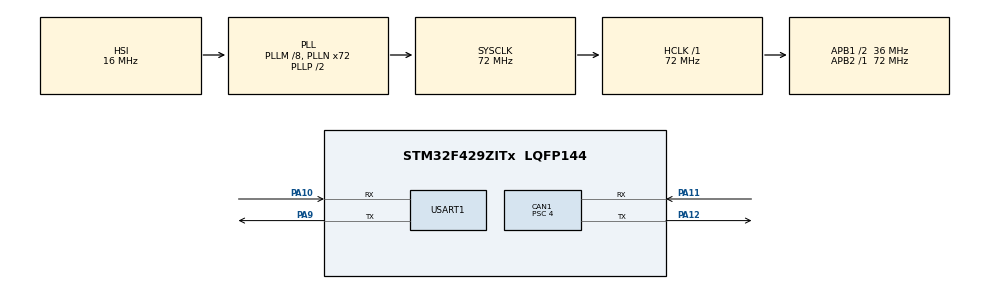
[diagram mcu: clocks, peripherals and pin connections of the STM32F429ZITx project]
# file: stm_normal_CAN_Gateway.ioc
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CAN1.BS1=CAN_BS1_14TQ
CAN1.BS2=CAN_BS2_3TQ
CAN1.CalculateBaudRate=500000
CAN1.CalculateTimeBit=2000
CAN1.CalculateTimeQuantum=111.11111111111111
CAN1.Mode=CAN_MODE_NORMAL
CAN1.Prescaler=4
Mcu.Family=STM32F4
Mcu.Name=STM32F429ZITx
Mcu.Package=LQFP144
NVIC.CAN1_RX0_IRQn=true\:0\:0\:false\:false\:true\:true\:true\:true
NVIC.PriorityGroup=NVIC_PRIORITYGROUP_4
PA10.Mode=Asynchronous
PA10.Signal=USART1_RX
PA11.Mode=CAN_Activate
PA11.Signal=CAN1_RX
PA12.Mode=CAN_Activate
PA12.Signal=CAN1_TX
PA9.Mode=Asynchronous
PA9.Signal=USART1_TX
ProjectManager.HeapSize=0x200
ProjectManager.StackSize=0x400
ProjectManager.TargetToolchain=STM32CubeIDE
RCC.48MHZClocksFreq_Value=48000000
RCC.AHBFreq_Value=72000000
RCC.APB1CLKDivider=RCC_HCLK_DIV2
RCC.APB1Freq_Value=36000000
RCC.APB1TimFreq_Value=72000000
RCC.APB2Freq_Value=72000000
RCC.APB2TimFreq_Value=72000000
RCC.CortexFreq_Value=72000000
RCC.HCLKFreq_Value=72000000
RCC.HSE_VALUE=8000000
RCC.HSI_VALUE=16000000
RCC.LSE_VALUE=32768
RCC.PLLM=8
RCC.PLLN=72
RCC.PLLQ=3
RCC.PLLSAIN=50
RCC.SYSCLKFreq_VALUE=72000000
RCC.SYSCLKSource=RCC_SYSCLKSOURCE_PLLCLK
RCC.VCOOutputFreq_Value=144000000
USART1.VirtualMode=VM_ASYNC
board=STM32F429I-DISC1

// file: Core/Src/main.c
/* USER CODE BEGIN Header */
/**
  ******************************************************************************
  * @file           : main.c
  * @brief          : Main program body
  ******************************************************************************
  * @attention
  *
  * Copyright (c) 2026 STMicroelectronics.
  * All rights reserved.
  *
  * This software is licensed under terms that can be found in the LICENSE file
  * in the root directory of this software component.
  * If no LICENSE file comes with this software, it is provided AS-IS.
  *
  ******************************************************************************
  */
/* USER CODE END Header */
#include "main.h"

/* USER CODE BEGIN Includes */
#include <stdio.h>
/* USER CODE END Includes */

CAN_HandleTypeDef hcan1;

UART_HandleTypeDef huart1;

CAN_TxHeaderTypeDef txHeader;
CAN_RxHeaderTypeDef rxHeader;
uint8_t txData[8];
uint8_t rxData[8];
uint32_t txMailbox;

/* USER CODE BEGIN PV */
volatile uint8_t can_rx_flag = 0;
/* USER CODE END PV */

void SystemClock_Config(void);
static void MX_GPIO_Init(void);
static void MX_USART1_UART_Init(void);
static void MX_CAN1_Init(void);
/* USER CODE BEGIN PFP */
static HAL_StatusTypeDef CAN_Filter_AllPass(void);
HAL_StatusTypeDef HAL_AddTxMessage_WithCheck(CAN_HandleTypeDef *hcan, CAN_TxHeaderTypeDef *pHeader, uint8_t aData[], uint32_t *pTxMailbox);
/* USER CODE END PFP */

int main(void)
{

  /* MCU Configuration--------------------------------------------------------*/

  /* Reset of all peripherals, Initializes the Flash interface and the Systick. */
  HAL_Init();

  /* Configure the system clock */
  SystemClock_Config();

  /* Initialize all configured peripherals */
  MX_GPIO_Init();
  MX_USART1_UART_Init();
  MX_CAN1_Init();
  /* USER CODE BEGIN 2 */
  if (CAN_Filter_AllPass() != HAL_OK) {
    HAL_UART_Transmit(&huart1, (uint8_t*)"FILTER CFG FAIL\r\n", 17, 100);
  }

  // CAN 주변장치 시작
  if (HAL_CAN_Start(&hcan1) != HAL_OK) {
    char err_buf[64];
    int len = snprintf(err_buf, sizeof(err_buf), "CAN START FAIL! ErrorCode: 0x%08lX, State: 0x%02X\r\n",
                       hcan1.ErrorCode, hcan1.State);
    HAL_UART_Transmit(&huart1, (uint8_t*)err_buf, len, 100);
  }

  // CAN 수신 인터럽트 활성화 (FIFO 0에 메시지가 들어오면 알림)
  if (HAL_CAN_ActivateNotification(&hcan1, CAN_IT_RX_FIFO0_MSG_PENDING) != HAL_OK) {
    HAL_UART_Transmit(&huart1, (uint8_t*)"NOTI FAIL\r\n", 11, 100);
  }

  /* CAN 송신용 헤더(봉투) 설정 */
  txHeader.StdId = 0x123;         // 보낼 때 사용할 ID (0x123)
  txHeader.IDE   = CAN_ID_STD;     // 표준 ID 형식 사용 (11비트)
  txHeader.RTR   = CAN_RTR_DATA;   // 데이터 프레임 전송
  txHeader.DLC   = 8;              // 보낼 데이터의 길이 (8바이트)
  txHeader.TransmitGlobalTime = DISABLE;

  /* USER CODE END 2 */

  /* Infinite loop */
  while (1)
  {

    /* USER CODE BEGIN 3 */
	  // 📬 새 메시지가 수신되었다면 (인터럽트 콜백에서 flag를 1로 만듦)
	  if (can_rx_flag)
	  {
	    can_rx_flag = 0; // 플래그 초기화

	    /* Phase E3 & E4 & E5: Gateway Logic */
	    if (rxHeader.StdId == 0x101) {
	        // 1. 조도값 복원 (2바이트)
	        uint16_t light_val = (rxData[0] << 8) | rxData[1];

	        // 2. 판단 로직 (임계값 500 기준)
	        uint8_t led_cmd = (light_val > 1000) ? 0x01 : 0x00;

	        // 3. 로그 출력
	        char log_buf[64];
	        int log_len = snprintf(log_buf, sizeof(log_buf), "Light: %d -> LED CMD: %d\r\n", light_val, led_cmd);
	        HAL_UART_Transmit(&huart1, (uint8_t*)log_buf, log_len, 100);

	        // 4. 액츄에이터 명령 송신 (ID 0x201)
	        txHeader.StdId = 0x201;
	        txHeader.DLC = 8;
	        txData[0] = led_cmd;
	        for(int i=1; i<8; i++) txData[i] = 0; // 나머지 초기화

	        if (HAL_CAN_AddTxMessage(&hcan1, &txHeader, txData, &txMailbox) != HAL_OK) {
	            HAL_UART_Transmit(&huart1, (uint8_t*)"TX CMD FAIL\r\n", 13, 100);
	        }
	    } else {
	        // 기타 메시지 출력 (디버깅용)
	        char buf[128];
	        int n = snprintf(buf, sizeof(buf),
	            "RX ID=0x%03lX DLC=%lu DATA=%02X %02X %02X %02X %02X %02X %02X %02X\r\n",
	            (unsigned long)rxHeader.StdId,
	            (unsigned long)rxHeader.DLC,
	            rxData[0], rxData[1], rxData[2], rxData[3],
	            rxData[4], rxData[5], rxData[6], rxData[7]);
	        HAL_UART_Transmit(&huart1, (uint8_t*)buf, n, 100);
	    }
	  }

	  HAL_Delay(10); // CPU 부하 감소를 위한 짧은 대기
  }
  /* USER CODE END 3 */
}

void SystemClock_Config(void)
{
  RCC_OscInitTypeDef RCC_OscInitStruct = {0};
  RCC_ClkInitTypeDef RCC_ClkInitStruct = {0};

  /** Configure the main internal regulator output voltage
  */
  __HAL_RCC_PWR_CLK_ENABLE();
  __HAL_PWR_VOLTAGESCALING_CONFIG(PWR_REGULATOR_VOLTAGE_SCALE3);

  /** Initializes the RCC Oscillators according to the specified parameters
  * in the RCC_OscInitTypeDef structure.
  */
  RCC_OscInitStruct.OscillatorType = RCC_OSCILLATORTYPE_HSI;
  RCC_OscInitStruct.HSIState = RCC_HSI_ON;
  RCC_OscInitStruct.HSICalibrationValue = RCC_HSICALIBRATION_DEFAULT;
  RCC_OscInitStruct.PLL.PLLState = RCC_PLL_ON;
  RCC_OscInitStruct.PLL.PLLSource = RCC_PLLSOURCE_HSI;
  RCC_OscInitStruct.PLL.PLLM = 8;
  RCC_OscInitStruct.PLL.PLLN = 72;
  RCC_OscInitStruct.PLL.PLLP = RCC_PLLP_DIV2;
  RCC_OscInitStruct.PLL.PLLQ = 3;
  if (HAL_RCC_OscConfig(&RCC_OscInitStruct) != HAL_OK)
  {
    Error_Handler();
  }

  /** Initializes the CPU, AHB and APB buses clocks
  */
  RCC_ClkInitStruct.ClockType = RCC_CLOCKTYPE_HCLK|RCC_CLOCKTYPE_SYSCLK
                              |RCC_CLOCKTYPE_PCLK1|RCC_CLOCKTYPE_PCLK2;
  RCC_ClkInitStruct.SYSCLKSource = RCC_SYSCLKSOURCE_PLLCLK;
  RCC_ClkInitStruct.AHBCLKDivider = RCC_SYSCLK_DIV1;
  RCC_ClkInitStruct.APB1CLKDivider = RCC_HCLK_DIV2;
  RCC_ClkInitStruct.APB2CLKDivider = RCC_HCLK_DIV1;

  if (HAL_RCC_ClockConfig(&RCC_ClkInitStruct, FLASH_LATENCY_2) != HAL_OK)
  {
    Error_Handler();
  }
}

static void MX_CAN1_Init(void)
{

  hcan1.Instance = CAN1;
  hcan1.Init.Prescaler = 4;
  hcan1.Init.Mode = CAN_MODE_NORMAL;
  hcan1.Init.SyncJumpWidth = CAN_SJW_1TQ;
  hcan1.Init.TimeSeg1 = CAN_BS1_14TQ;
  hcan1.Init.TimeSeg2 = CAN_BS2_3TQ;
  hcan1.Init.TimeTriggeredMode = DISABLE;
  hcan1.Init.AutoBusOff = DISABLE;
  hcan1.Init.AutoWakeUp = DISABLE;
  hcan1.Init.AutoRetransmission = DISABLE;
  hcan1.Init.ReceiveFifoLocked = DISABLE;
  hcan1.Init.TransmitFifoPriority = DISABLE;
  if (HAL_CAN_Init(&hcan1) != HAL_OK)
  {
    Error_Handler();
  }

}

static void MX_USART1_UART_Init(void)
{

  huart1.Instance = USART1;
  huart1.Init.BaudRate = 115200;
  huart1.Init.WordLength = UART_WORDLENGTH_8B;
  huart1.Init.StopBits = UART_STOPBITS_1;
  huart1.Init.Parity = UART_PARITY_NONE;
  huart1.Init.Mode = UART_MODE_TX_RX;
  huart1.Init.HwFlowCtl = UART_HWCONTROL_NONE;
  huart1.Init.OverSampling = UART_OVERSAMPLING_16;
  if (HAL_UART_Init(&huart1) != HAL_OK)
  {
    Error_Handler();
  }

}

static void MX_GPIO_Init(void)
{

  /* GPIO Ports Clock Enable */
  __HAL_RCC_GPIOA_CLK_ENABLE();

}

/* USER CODE BEGIN 4 */
static HAL_StatusTypeDef CAN_Filter_AllPass(void)
{
  CAN_FilterTypeDef filter = {0};

  filter.FilterBank = 0;
  filter.FilterMode = CAN_FILTERMODE_IDMASK;
  filter.FilterScale = CAN_FILTERSCALE_32BIT;

  filter.FilterIdHigh = 0x0000;
  filter.FilterIdLow  = 0x0000;
  filter.FilterMaskIdHigh = 0x0000;
  filter.FilterMaskIdLow  = 0x0000;

  filter.FilterFIFOAssignment = CAN_FILTER_FIFO0;
  filter.FilterActivation = ENABLE;
  filter.SlaveStartFilterBank = 14;

  return HAL_CAN_ConfigFilter(&hcan1, &filter);
}

// 📨 CAN 데이터 수신 인터럽트 콜백 함수
//(주변장치에 데이터가 도착하면 자동으로 호출됨)
void HAL_CAN_RxFifo0MsgPendingCallback(CAN_HandleTypeDef *hcan)
{
  // 📥 실제 데이터를 읽어옴 (hcan -> rxHeader, rxData)
  if (HAL_CAN_GetRxMessage(hcan, CAN_RX_FIFO0, &rxHeader, rxData) != HAL_OK)
    return;

  can_rx_flag = 1;   // "새로운 데이터가 도착했다"고 표시
}

HAL_StatusTypeDef HAL_AddTxMessage_WithCheck(CAN_HandleTypeDef *hcan, CAN_TxHeaderTypeDef *pHeader, uint8_t aData[], uint32_t *pTxMailbox)
{
    HAL_StatusTypeDef status = HAL_CAN_AddTxMessage(hcan, pHeader, aData, pTxMailbox);

    if (status == HAL_OK) {
        // Wait for transmission completion or error
        uint32_t tickstart = HAL_GetTick();
        while (HAL_CAN_IsTxMessagePending(hcan, *pTxMailbox)) {
            if ((HAL_GetTick() - tickstart) > 10) { // 10ms timeout
                return HAL_ERROR;
            }
        }

        // Check for errors after pending is cleared
        if (hcan->ErrorCode & HAL_CAN_ERROR_ACK) {
            return HAL_ERROR; // No ACK received
        }
    }
    return status;
}

/* USER CODE END 4 */

void Error_Handler(void)
{
  __disable_irq();
  while (1)
  {
  }
}
